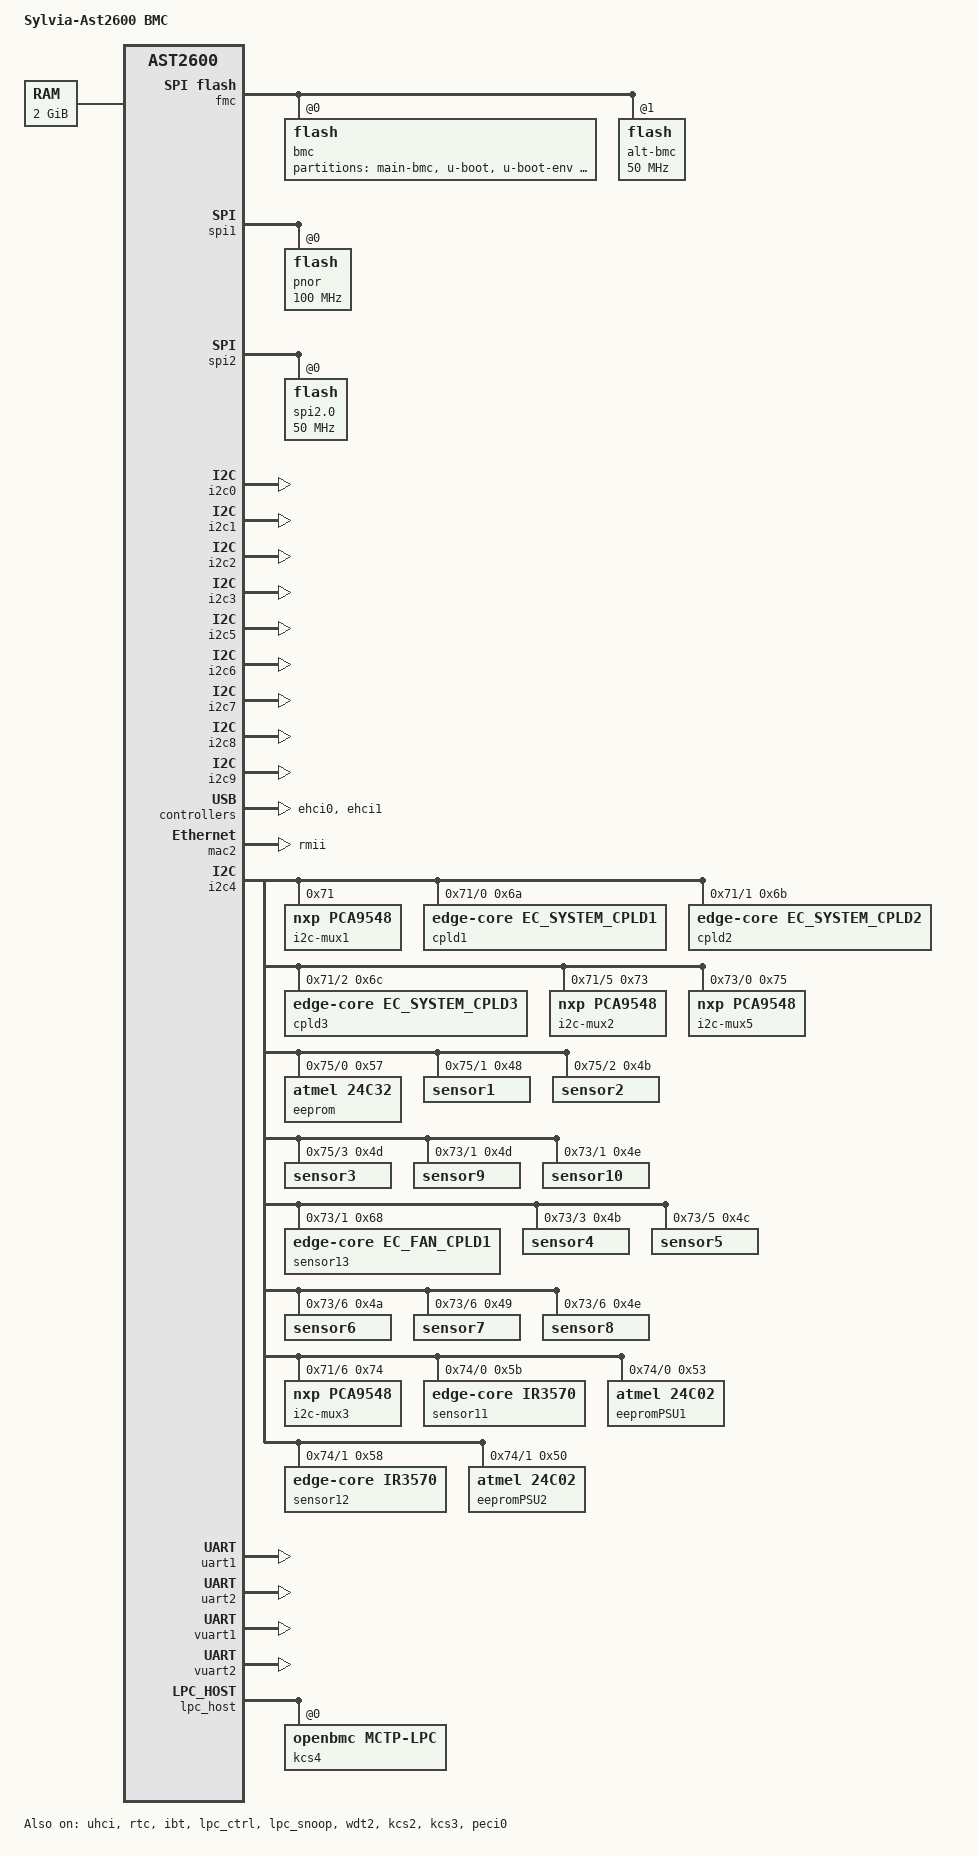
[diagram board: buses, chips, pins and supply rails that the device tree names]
// SPDX-License-Identifier: GPL-2.0-or-later
// Copyright (c) 2020 Accton Inc.

/dts-v1/;

#include "aspeed-g6.dtsi"
#include <dt-bindings/gpio/aspeed-gpio.h>
#include <dt-bindings/leds/leds-pca955x.h>

/ {
	model = "Sylvia-Ast2600 BMC";
	compatible = "ibm,tacoma-bmc", "aspeed,ast2600";

	chosen {
		stdout-path = &uart5;
		bootargs = "console=ttyS4,115200n8 root=/dev/ram rw";
	};

	memory@80000000 {
		device_type = "memory";
		reg = <0x80000000 0x80000000>;
	};

	reserved-memory {
		#address-cells = <1>;
		#size-cells = <1>;
		ranges;

		flash_memory: region@ba000000 {
			no-map;
			reg = <0xb8000000 0x4000000>; /* 64M */
		};

		vga_memory: region@bf000000 {
			no-map;
			reg = <0xbf000000 0x01000000>;	/* 16M */
		};
	};
};

&fmc {
	status = "okay";
	flash@0 {
		status = "okay";
		m25p,fast-read;
		label = "bmc";

		partitions {
			compatible = "fixed-partitions";
			#address-cells = <1>;
			#size-cells = <1>;

			obmc@0 {
				reg = <0x0000000 0x4000000>; // 64MB
				label = "main-bmc";
			};
			u-boot@0 {
				reg = <0x0 0xe0000>; // 896KB
				label = "u-boot";
			};

			u-boot-env@e0000 {
				reg = <0xe0000 0x20000>; // 128KB
				label = "u-boot-env";
			};

			kernel@100000 {
				reg = <0x100000 0x900000>; // 9 MB
				label = "kernel";
			};

			rofs@a00000 {
				reg = <0xa00000 0x1400000>; // 20MB 
				label = "rofs";
			};

			rwfs@1e00000 {
				reg = <0x1e00000 0x200000>; // 2MB
				label = "rwfs";
			};
		};
	};

	flash@1 {
		status = "okay";
		m25p,fast-read;
		label = "alt-bmc";
		spi-max-frequency = <50000000>;
	};
};

&spi1 {
	status = "okay";
	pinctrl-names = "default";
	pinctrl-0 = <&pinctrl_spi1_default>;

	flash@0 {
		status = "okay";
		m25p,fast-read;
		label = "pnor";
		spi-max-frequency = <100000000>;
	};
};

&spi2 {
	status = "okay";
	pinctrl-names = "default";
	pinctrl-0 = <&pinctrl_spi2_default>;

	flash@0 {
		status = "okay";
		m25p,fast-read;
		label = "spi2.0";
		spi-max-frequency = <50000000>;
	};
};

&i2c0 {
	status = "okay";
};

&i2c1 {
	status = "okay";
};

&i2c2 {
	status = "okay";
};

&i2c3 {
	status = "okay";
};

/*
&i2c4 {
	status = "okay";
};
*/
&i2c5 {
	status = "okay";
};

&i2c6 {
	status = "okay";
};

&i2c7 {
	status = "okay";
};

&i2c8 {
	status = "okay";
};

&i2c9 {
	status = "okay";
};

&uhci {
	status = "okay";
};

&ehci0 {
	status = "okay";
};

&ehci1 {
	status = "okay";
};

/*
&mdio2 {
	status = "okay";

	ethphy2: ethernet-phy@2 {
		compatible = "ethernet-phy-ieee802.3-c22";
		reg = <0>;
	};
};

&mdio3 {
	status = "okay";

	ethphy3: ethernet-phy@3 {
		compatible = "ethernet-phy-ieee802.3-c22";
		reg = <0>;
	};
};

&mac2 {
	status = "okay";

	phy-mode = "rmii";
	phy-handle = <&ethphy2>;

	pinctrl-names = "default";
	pinctrl-0 = <&pinctrl_rmii3_default>;
};

&mac3 {
	status = "okay";

	phy-mode = "rgmii";
	phy-handle = <&ethphy3>;

	pinctrl-names = "default";
	pinctrl-0 = <&pinctrl_rgmii4_default>;
};
*/
&rtc {
	status = "okay";
};

&mac2 {
	status = "okay";

	use-ncsi;

	pinctrl-names = "default";
	pinctrl-0 = <&pinctrl_rmii3_default>;
	clocks = <&syscon ASPEED_CLK_GATE_MAC3CLK>;
	clock-names = "MACCLK", "RCLK";
	phy-mode = "rmii";
};

/*
&mac3 {
	status = "okay";
	phy-mode = "rgmii";
	pinctrl-names = "default";
	pinctrl-0 = <&pinctrl_rgmii4_default>;
	clocks = <&syscon ASPEED_CLK_GATE_MAC4CLK>;
	clock-names = "MACCLK", "RCLK";
	use-ncsi;
};
*/

/*
&emmc_controller {
	status = "okay";
};

&emmc {
	status = "okay";
};
*/


&i2c4 {
	status = "okay";

	i2c-mux1@71 {
		compatible = "nxp,pca9548";
		i2c-mux-idle-disconnect;
		reg = <0x71>;

		i2c4_71_chan0: i2c@0 {
			reg = <0>;
			cpld1@system_cpld_6a {
				compatible = "edge-core,ec_system_cpld1";
				reg = <0x6a>;
			};			
		};

		i2c4_71_chan1: i2c@1 {
			reg = <1>;
			cpld2@system_cpld_6b {
				compatible = "edge-core,ec_system_cpld2";
				reg = <0x6b>;
			};			
		};

		i2c4_71_chan2: i2c@2 {
			reg = <2>;
			cpld3@system_cpld_6c {
				compatible = "edge-core,ec_system_cpld3";
				reg = <0x6c>;
			};			
		};

		i2c4_71_chan3: i2c@3 {
			reg = <3>;
		};

		i2c4_71_chan4: i2c@4 {
			reg = <4>;
		};

		i2c4_71_chan5: i2c@5 {
			reg = <5>;
		};

		i2c4_71_chan6: i2c@6 {
			reg = <6>;
		};

		i2c4_71_chan7: i2c@7 {
			reg = <7>;
		};
	};
};

&i2c4_71_chan5 {
	i2c-mux2@73 {
		compatible = "nxp,pca9548";
		i2c-mux-idle-disconnect;
		reg = <0x73>;

		i2c4_71_73_chan0: i2c@0 {
			reg = <0>;
		};

		i2c4_71_73_chan1: i2c@1 {
			reg = <1>;
			sensor9@fan_temp1_4d {
				//compatible = "national,lm75";
				reg = <0x4d>;
			};

			sensor10@fan_temp2_4e {
				//compatible = "national,lm75";
				reg = <0x4e>;
			};

			sensor13@fan_cpld_68 {
				compatible = "edge-core,ec_fan_cpld1";
				reg = <0x68>;
			};
		};

		i2c4_71_73_chan2: i2c@2 {
			reg = <2>;
		};

		i2c4_71_73_chan3: i2c@3 {
			reg = <3>;

			sensor4@lm75db_4b {
				//compatible = "national,lm75";
				reg = <0x4b>;
			};
		};

		i2c4_71_73_chan4: i2c@4 {
			reg = <4>;
		};

		i2c4_71_73_chan5: i2c@5 {
			reg = <5>;

			sensor5@88470_thermal_4c {
				//compatible = "national,lm75";
				reg = <0x4c>;
			};
		};

		i2c4_71_73_chan6: i2c@6 {
			reg = <6>;

			sensor6@lm75bd_1_4a {
				//compatible = "national,lm75";
				reg = <0x4a>;
			};

			sensor7@lm75bd_2_49 {
				//compatible = "national,lm75";
				reg = <0x49>;
			};

			sensor8@lm75bd_3_4e {
				//compatible = "national,lm75";
				reg = <0x4e>;
			};
		};

		i2c4_71_73_chan7: i2c@7 {
			reg = <7>;
		};
	};
};

&i2c4_71_chan6 {
	i2c-mux3@74 {
		compatible = "nxp,pca9548";
		i2c-mux-idle-disconnect;
		reg = <0x74>;

		i2c4_71_74_chan0: i2c@0 {
			reg = <0>;
			sensor11@psu1_5b {
				compatible = "edge-core,ir3570";
				reg = <0x5b>;
			};
			eepromPSU1@53 {
				compatible = "atmel,24c02";
				reg = <0x53>;
			};
		};

		i2c4_71_74_chan1: i2c@1 {
			reg = <1>;
			sensor12@psu2_58 {
				compatible = "edge-core,ir3570";
				reg = <0x58>;
			};
			eepromPSU2@50 {
				compatible = "atmel,24c02";
				reg = <0x50>;
			};
		};

		i2c4_71_74_chan2: i2c@2 {
			reg = <2>;
		};

		i2c4_71_74_chan3: i2c@3 {
			reg = <3>;
		};

		i2c4_71_74_chan4: i2c@4 {
			reg = <4>;
		};

		i2c4_71_74_chan5: i2c@5 {
			reg = <5>;
		};

		i2c4_71_74_chan6: i2c@6 {
			reg = <6>;
		};

		i2c4_71_74_chan7: i2c@7 {
			reg = <7>;
		};
	};
};

&i2c4_71_73_chan0 {
	i2c-mux5@75 {
		compatible = "nxp,pca9548";
		i2c-mux-idle-disconnect;
		reg = <0x75>;

		i2c4_71_73_75_chan0: i2c@0 {
			reg = <0>;
			eeprom@57 {
				compatible = "atmel,24c32";
				reg = <0x57>;
			};
		};

		i2c4_71_73_75_chan1: i2c@1 {
			reg = <1>;

			sensor1@lm75bd_5_main_48 {
				//compatible = "national,lm75";
				reg = <0x48>;
			};
		};

		i2c4_71_73_75_chan2: i2c@2 {
			reg = <2>;

			sensor2@lm75bd_6_main_4b {
				//compatible = "national,lm75";
				reg = <0x4b>;
			};
		};

		i2c4_71_73_75_chan3: i2c@3 {
			reg = <3>;

			sensor3@lm75bd_7_main_4d {
				//compatible = "national,lm75";
				reg = <0x4d>;
			};
		};

		i2c4_71_73_75_chan4: i2c@4 {
			reg = <4>;
		};

		i2c4_71_73_75_chan5: i2c@5 {
			reg = <5>;
		};

		i2c4_71_73_75_chan6: i2c@6 {
			reg = <6>;
		};

		i2c4_71_73_75_chan7: i2c@7 {
			reg = <7>;
		};
	};
};

&i2c4_71_73_chan7 {
	i2c-mux6@75 {
		compatible = "nxp,pca9548";
		status = "disabled";
		i2c-mux-idle-disconnect;
		reg = <0x75>;
	};
};


&ibt {
	status = "okay";
};

&uart1 {
	status = "okay";
	// Workaround for A0
	compatible = "snps,dw-apb-uart";
};

&uart2 {
	status = "okay";
};

&uart5 {
	// Workaround for A0
	compatible = "snps,dw-apb-uart";
};

&vuart1 {
	status = "okay";
};

&vuart2 {
	status = "okay";
};

&lpc_ctrl {
	status = "okay";
	memory-region = <&flash_memory>;
	flash = <&spi1>;
};

&lpc_snoop {
	status = "okay";
	snoop-ports = <0x80>;
};

&wdt1 {
	aspeed,reset-type = "none";
	aspeed,external-signal;
	aspeed,ext-push-pull;
	aspeed,ext-active-high;

	pinctrl-names = "default";
	pinctrl-0 = <&pinctrl_wdtrst1_default>;
};


&wdt2 {
	status = "okay";
};


&pinctrl {
	/* Hog these as no driver is probed for the entire LPC block */
	pinctrl-names = "default";
	pinctrl-0 = <&pinctrl_lpc_default>,
		    <&pinctrl_lsirq_default>;
};

&xdma {
	status = "okay";
	memory-region = <&vga_memory>;
};

&lpc_host {
       kcs4: kcs4@0 {
               compatible = "openbmc,mctp-lpc";
               interrupts = <GIC_SPI 141 IRQ_TYPE_LEVEL_HIGH>;
               status = "okay";
       };
};

&kcs2 {
	// BMC KCS channel 2
	status = "okay";
};

&kcs3 {
	// BMC KCS channel 3
	status = "okay";
	kcs_addr = <0xca2>;
};

&peci0 {
	status = "okay";
};
/*
&pcie {
	status = "okay";
	interrupts = <GIC_SPI 168 IRQ_TYPE_LEVEL_HIGH>;

	pcie_intc0: legacy-interrupt-controller {
		interrupts = <GIC_SPI 168 IRQ_TYPE_EDGE_RISING>;
  };
};

&pcie_ep {
	status = "okay";
};

&h2x {
	status = "okay";
};*/


